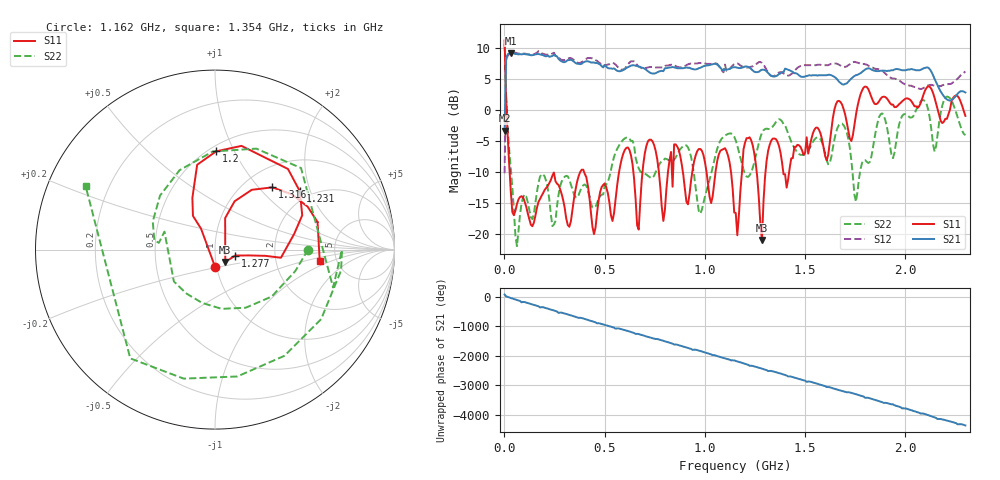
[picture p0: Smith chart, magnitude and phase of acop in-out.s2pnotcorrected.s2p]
# Hz S DB R 50.000000
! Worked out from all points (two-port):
!   300 points, 1 MHz to 2.3 GHz, reference 50 ohm
!   highest |S21| = 9.29 dB at 31.76 MHz (marker M1); lowest = -3.3 dB at 1 MHz (marker M2)
!   |S21| within 3 dB of the highest: 7.256 MHz to 717.8 MHz (710.5 MHz wide, 196 % of centre); 772.5 MHz to 1.245 GHz (472.3 MHz wide, 46.8 % of centre) (the widest 2 of 5)
!   lowest |S11| = -20.9 dB at 1.285 GHz (marker M3), VSWR 1.20, Z = 55.5 - j7.76 ohm
!   |S11| at or under -10 dB: 26.13 MHz to 377.6 MHz (351.5 MHz wide, 174 % of centre); 397.9 MHz to 571.9 MHz (174 MHz wide, 35.9 % of centre); 1.131 GHz to 1.185 GHz (54.51 MHz wide, 4.71 % of centre) (the widest 3 of 10)
!   |S22| runs from -21.9 to 10.7 dB; largest |S21 - S12| = 5.5
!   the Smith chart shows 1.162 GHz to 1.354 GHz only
!   S11 on the Smith chart (normalised r, x): 1.162 GHz: 0.98, -0.19; 1.2 GHz: 0.54, +0.85; 1.231 GHz: 1.75, +1.69; 1.277 GHz: 1.25, -0.08; 1.316 GHz: 1.33, +1.19; 1.354 GHz: 3.69, -0.73
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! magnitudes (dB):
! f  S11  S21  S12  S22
! 1 MHz  11.3  -3.3  -10.2  10.7
! 8.689 MHz  2.0  8.5  8.2  2.2
! 31.76 MHz  -13.0  9.3  9.3  -9.3
! 62.51 MHz  -15.1  9.1  9.3  -21.9
! 385.4 MHz  -9.6  7.5  7.8  -12.4
! 447 MHz  -20.0  7.7  8.3  -15.8
! 608.4 MHz  -6.1  6.8  7.1  -4.4
! 769.9 MHz  -9.7  6.3  6.9  -8.9
! 977.5 MHz  -6.2  6.9  7.6  -16.7
! 1.154 GHz  -16.6  7.0  7.6  -4.9
! 1.162 GHz  -20.2  6.9  7.6  -5.7
! 1.2 GHz  -5.2  7.1  6.9  -10.3
! 1.231 GHz  -4.8  6.7  7.1  -10.0
! 1.277 GHz  -18.6  6.4  7.8  -4.3
! 1.285 GHz  -20.9  6.6  7.7  -3.6
! 1.316 GHz  -6.5  6.0  6.1  -3.0
! 1.354 GHz  -4.6  5.5  5.8  -1.9
! 1.539 GHz  -3.7  5.7  7.3  -5.1
! 1.693 GHz  0.2  4.2  7.0  -2.4
! 1.754 GHz  -0.7  5.7  7.8  -14.8
! 1.923 GHz  1.2  6.4  5.3  -5.6
! 2.3 GHz  -0.9  2.9  6.3  -4.0
